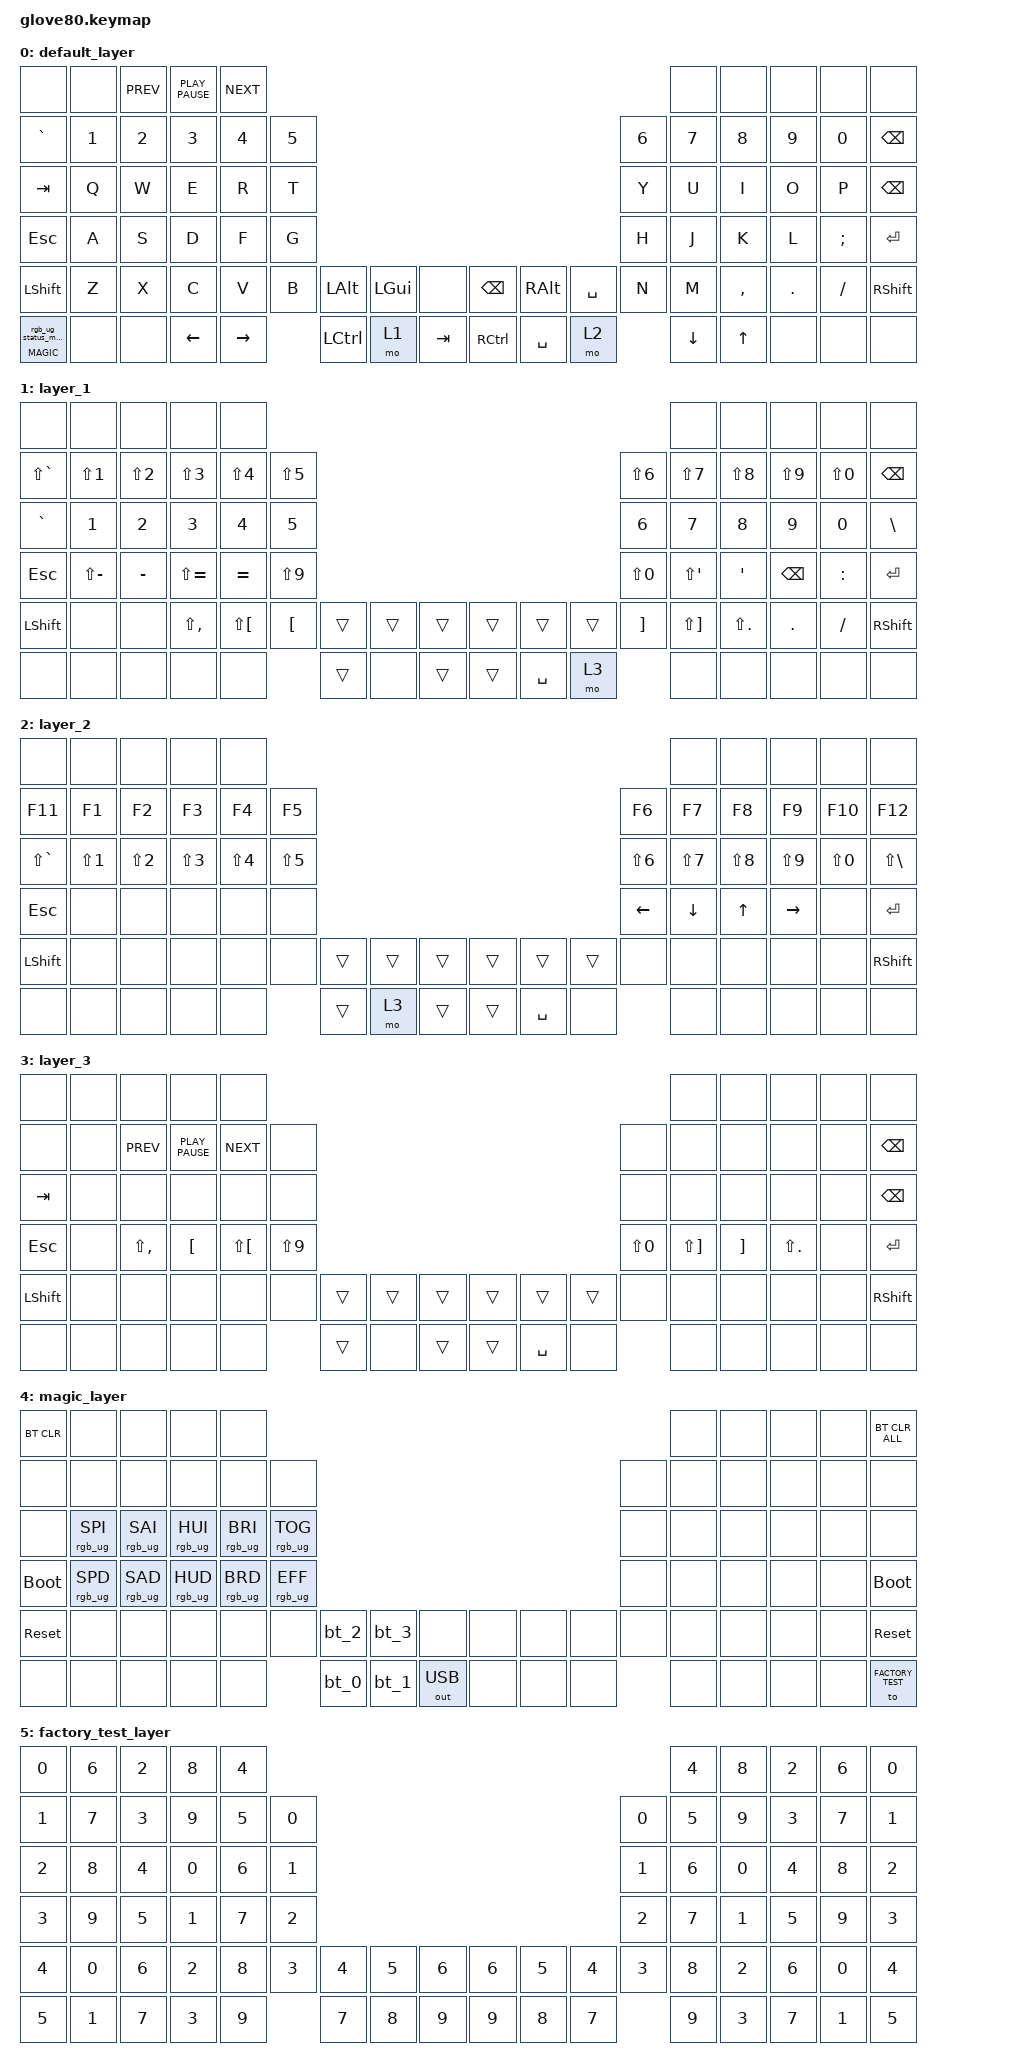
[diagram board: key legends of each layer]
/*
* SPDX-License-Identifier: MIT
*/

#include <behaviors.dtsi>
#include <dt-bindings/zmk/keys.h>
#include <dt-bindings/zmk/bt.h>
#include <dt-bindings/zmk/ext_power.h>
#include <dt-bindings/zmk/outputs.h>
#include <dt-bindings/zmk/rgb.h>

#define HYPER LC(LS(LG(LALT)))

// layers
#define DEFAULT 0
#define L1 1
#define L2 2
#define L3 3
#define MAGIC 4
#define FACTORY_TEST 5

/ {
    behaviors {
        magic: magic_hold_tap {
            compatible = "zmk,behavior-hold-tap";
            label = "MAGIC_HOLD_TAP";
            #binding-cells = <2>;
            flavor = "tap-preferred";
            tapping-term-ms = <200>;
            bindings = <&mo>, <&rgb_ug_status_macro>;
        };
    };

    macros {
        rgb_ug_status_macro: rgb_ug_status_macro_0 {
            label = "RGB_UG_STATUS";
            compatible = "zmk,behavior-macro";
            #binding-cells = <0>;
            bindings = <&rgb_ug RGB_STATUS>;
        };

        bt_0: bt_profile_macro_0 {
            label = "BT_0";
            compatible = "zmk,behavior-macro";
            #binding-cells = <0>;
            bindings
                = <&out OUT_BLE>,
                <&bt BT_SEL 0>;
        };

        bt_1: bt_profile_macro_1 {
            label = "BT_1";
            compatible = "zmk,behavior-macro";
            #binding-cells = <0>;
            bindings
                = <&out OUT_BLE>,
                <&bt BT_SEL 1>;
        };

        bt_2: bt_profile_macro_2 {
            label = "BT_2";
            compatible = "zmk,behavior-macro";
            #binding-cells = <0>;
            bindings
                = <&out OUT_BLE>,
                <&bt BT_SEL 2>;
        };

        bt_3: bt_profile_macro_3 {
            label = "BT_3";
            compatible = "zmk,behavior-macro";
            #binding-cells = <0>;
            bindings
                = <&out OUT_BLE>,
                <&bt BT_SEL 3>;
        };
    };

    keymap {
        compatible = "zmk,keymap";

        default_layer {
            // ---------------------------------------------------------------------------------------------------------------------------------
            // |       |     |     |      |      |                                                          |       |       |      |       |       |
            // |   `   |  1  |  2  |  3   |  4   |  5  |                                              |  6  |   7   |   8   |  9   |   0   | BSPC  |
            // |  TAB  |  Q  |  W  |  E   |  R   |  T  |                                              |  Y  |   U   |   I   |  O   |   P   | BSPC  |
            // |  ESC  |  A  |  S  |  D   |  F   |  G  |                                              |  H  |   J   |   K   |  L   |   ;   |  RET  |
            // | LSHFT |  Z  |  X  |  C   |  V   |  B  | LALT  | LSUPR |     || BSPC  | RALT  | SPACE |  N  |   M   |   ,   |  .   |   /   | RSHFT |
            // | MAGIC |  =  |     | LEFT | RIGHT|     | LCTRL | L1    | TAB || RCTRL | SPACE | L2    |     |  UP   | DOWN  |  '   |   -   |       |

            bindings = <
                &none      &none       &kp K_PREV    &kp K_PLAY_PAUSE &kp K_NEXT                                                                       &none    &none        &none      &none      &none
                &kp GRAVE      &kp N1    &kp N2      &kp N3      &kp N4      &kp N5                                                            &kp N6  &kp N7   &kp N8     &kp N9      &kp N0      &kp BSPC
                &kp TAB        &kp Q     &kp W       &kp E       &kp R       &kp T                                                             &kp Y   &kp U    &kp I      &kp O       &kp P       &kp BSPC
                &kp ESC        &kp A     &kp S       &kp D       &kp F       &kp G                                                             &kp H   &kp J    &kp K      &kp L       &kp SEMI    &kp RET
                &kp LSHFT      &kp Z     &kp X       &kp C       &kp V       &kp B   &kp LALT  &kp LGUI &none   &kp BSPC  &kp RALT  &kp SPACE  &kp N   &kp M    &kp COMMA  &kp DOT     &kp FSLH    &kp RSHFT
                &magic MAGIC 0 &none     &none       &kp LEFT    &kp RIGHT           &kp LCTRL &mo L1   &kp TAB &kp RCTRL &kp SPACE &mo L2             &kp DOWN &kp UP     &none       &none       &none
            >;
        };

        layer_1 {
            // ---------------------------------------------------------------------------------------------------------------------------------
            // |       |     |     |      |      |                                                            |       |       |      |       |       |
            // |   ~   |  !  |  @  |  #   |  $   |  %  |                                                |  ^  |   &   |   *   |  (   |   )   | BSPC  |
            // |   `   |  1  |  2  |  3   |  4   |  4  |                                                |  6  |   7   |   8   |  9   |   0   |   \   |
            // |  ESC  |  _  |  -  |  +   |  =   |  (  |                                                |  )  |   "   |   '   | BSPC |   :   |  RET  |
            // | LSHFT |     |     |  <   |  {   |  [  | LALT  | LSUPR | TRANS || TRANS | TRANS | TRANS |  ]  |   }   |   >   |  .   |   /   | RSHFT |
            // |       |     |     |      |      |     | LCTRL |       | TRANS || TRANS | SPACE | L3    |     |       |       |      |       |       |

            bindings = <
                &none      &none       &none      &none     &none                                                                                             &none      &none        &none      &none      &none
                &kp LS(GRAVE)  &kp LS(N1)    &kp LS(N2)     &kp LS(N3)  &kp LS(N4)   &kp LS(N5)                                                    &kp LS(N6) &kp LS(N7) &kp LS(N8)   &kp LS(N9) &kp LS(N0) &kp BSPC
                &kp GRAVE  &kp N1      &kp N2     &kp N3    &kp N4     &kp N5                                                                      &kp N6     &kp N7     &kp N8       &kp N9     &kp N0     &kp BSLH
                &kp ESC    &kp LS(MINUS)  &kp MINUS  &kp LS(EQUAL)  &kp EQUAL  &kp LS(N9)                                                          &kp LS(N0) &kp LS(SQT) &kp SQT     &kp BSPC   &kp COLON  &kp RET
                &kp LSHFT  &none       &none      &kp LS(COMMA) &kp LS(LBKT) &kp LBKT    &trans  &trans  &trans  &trans  &trans  &trans &kp RBKT   &kp LS(RBKT) &kp LS(DOT)  &kp DOT    &kp FSLH   &kp RSHFT
                &none      &none       &none      &none     &none                  &trans &none     &trans   &trans  &kp SPACE  &mo L3                &none      &none        &none      &none      &none
            >;
        };

        layer_2 {
            // ---------------------------------------------------------------------------------------------------------------------------------
            // |       |     |     |      |      |                                                            |       |       |      |       |       |
            // |  F11  | F1  | F2  |  F3  |  F4  |  F5 |                                                | F6  |  F7   |  F8   |  F9  |  F10  |  F12  |
            // |   ~   |  !  |  @  |  #   |  $   |  %  |                                                |  ^  |   &   |   *   |  (   |   )   |   |   |
            // |  ESC  |     |     |      |      |     |                                                |LEFT | DOWN  |  UP   |RIGHT |       |  RET  |
            // | LSHFT |     |     |      |      |     | TRANS | TRANS | TRANS || TRANS | TRANS | TRANS |     |       |       |      |       | RSHFT |
            // |       |     |     |      |      |     | TRANS | L3    | TRANS || TRANS | SPACE |       |     |       |       |      |       |       |

            bindings = <
                &none      &none       &none      &none     &none                                                                                             &none      &none        &none      &none      &none
                &kp F11    &kp F1      &kp F2     &kp F3    &kp F4  &kp F5                                                                         &kp F6     &kp F7     &kp F8       &kp F9     &kp F10    &kp F12
                &kp LS(GRAVE)  &kp LS(N1)    &kp LS(N2)     &kp LS(N3)  &kp LS(N4)   &kp LS(N5)                                                    &kp LS(N6) &kp LS(N7) &kp LS(N8)   &kp LS(N9) &kp LS(N0) &kp LS(BSLH)
                &kp ESC    &none       &none      &none     &none   &none                                                                          &kp LEFT   &kp DOWN   &kp UP       &kp RIGHT  &none      &kp RET
                &kp LSHFT  &none       &none      &none     &none   &none          &trans  &trans  &trans  &trans  &trans  &trans   &none      &none      &none        &none      &none      &kp RSHFT
                &none      &none       &none      &none     &none                  &trans  &mo L3  &trans  &trans  &kp SPACE  &none                 &none      &none        &none      &none      &none
            >;
        };

        layer_3 {
            // ---------------------------------------------------------------------------------------------------------------------------------
            // |       |     |     |      |      |                                                            |       |       |      |       |       |
            // |       |     |     |      |      |     |                                                |     |       |       |      |       | BSPC  |
            // |  TAB  |     |     |      |      |     |                                                |     |       |       |      |       | BSPC  |
            // |  ESC  |  \  |  <  |   [  |   {  |  (  |                                                |  )  |   }   |   ]   |  >   |   /   |  RET  |
            // | LSHFT |     |     |      |      |     | TRANS | TRANS | TRANS || TRANS | TRANS | TRANS |     |       |       |      |       | RSHFT |
            // |       |     |     |      |      |     | TRANS |       | TRANS || TRANS | SPACE |       |     |       |       |      |       |       |
            bindings = <
                &none      &none       &none      &none     &none                                                                                             &none      &none        &none      &none      &none
                &none      &none      &kp K_PREV    &kp K_PLAY_PAUSE &kp K_NEXT   &none                                                                          &none      &none      &none        &none      &none      &kp BSPC
                &kp TAB    &none       &none      &none     &none   &none                                                                          &none      &none      &none        &none      &none      &kp BSPC
                &kp ESC    &none       &kp LS(COMMA)  &kp LBKT  &kp LS(LBKT)  &kp LS(N9)                                                           &kp LS(N0) &kp LS(RBKT) &kp RBKT   &kp LS(DOT)  &none    &kp RET
                &kp LSHFT  &none       &none      &none     &none   &none          &trans  &trans  &trans  &trans  &trans  &trans   &none      &none      &none        &none      &none      &kp RSHFT
                &none      &none       &none      &none     &none                  &trans &none     &trans   &trans  &kp SPACE  &none                 &none      &none        &none      &none      &none
            >;
        };

        magic_layer {
            bindings = <
                &bt BT_CLR        &none               &none           &none           &none                                                                                                           &none      &none      &none      &none      &bt BT_CLR_ALL
                &none             &none               &none           &none           &none           &none                                                                                &none      &none      &none      &none      &none      &none
                &none             &rgb_ug RGB_SPI     &rgb_ug RGB_SAI &rgb_ug RGB_HUI &rgb_ug RGB_BRI &rgb_ug RGB_TOG                                                                      &none      &none      &none      &none      &none      &none
                &bootloader       &rgb_ug RGB_SPD     &rgb_ug RGB_SAD &rgb_ug RGB_HUD &rgb_ug RGB_BRD &rgb_ug RGB_EFF                                                                      &none      &none      &none      &none      &none      &bootloader
                &sys_reset        &none               &none           &none           &none           &none           &bt_2     &bt_3     &none            &none     &none     &none       &none      &none      &none      &none      &none      &sys_reset
                &none             &none               &none           &none           &none                           &bt_0     &bt_1     &out OUT_USB     &none     &none     &none                  &none      &none      &none      &none      &to FACTORY_TEST
            >;
        };

        factory_test_layer {
            bindings = <
                &kp N0   &kp N6   &kp N2   &kp N8   &kp N4                                                                              &kp N4   &kp N8   &kp N2   &kp N6   &kp N0
                &kp N1   &kp N7   &kp N3   &kp N9   &kp N5   &kp N0                                                            &kp N0   &kp N5   &kp N9   &kp N3   &kp N7   &kp N1
                &kp N2   &kp N8   &kp N4   &kp N0   &kp N6   &kp N1                                                            &kp N1   &kp N6   &kp N0   &kp N4   &kp N8   &kp N2
                &kp N3   &kp N9   &kp N5   &kp N1   &kp N7   &kp N2                                                            &kp N2   &kp N7   &kp N1   &kp N5   &kp N9   &kp N3
                &kp N4   &kp N0   &kp N6   &kp N2   &kp N8   &kp N3   &kp N4   &kp N5   &kp N6      &kp N6   &kp N5   &kp N4   &kp N3   &kp N8   &kp N2   &kp N6   &kp N0   &kp N4
                &kp N5   &kp N1   &kp N7   &kp N3   &kp N9            &kp N7   &kp N8   &kp N9      &kp N9   &kp N8   &kp N7            &kp N9   &kp N3   &kp N7   &kp N1   &kp N5
            >;
        };
    };
};
